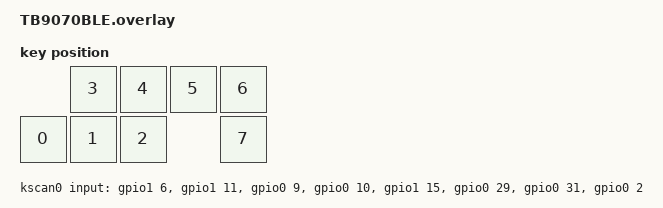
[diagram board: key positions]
#include <dt-bindings/zmk/input_transform.h>
#include <input/processors.dtsi>
#include <physical_layouts.dtsi>
#include <zephyr/dt-bindings/input/input-event-codes.h>

// layers
#define DEFAULT 0
#define SCRLM 1
#define SCRLH 2
#define DEVICE 3
#define BLTH 4
#define SNIPE 5

/ {
    chosen {
        zmk,kscan = &kscan0;
        zmk,physical-layout = &physical_layout0;
    };

    kscan0: kscan {
        compatible = "zmk,kscan-gpio-direct";
        wakeup-source;
        input-gpios
            = <&gpio1 6 (GPIO_ACTIVE_LOW | GPIO_PULL_UP)>
            , <&gpio1 11 (GPIO_ACTIVE_LOW | GPIO_PULL_UP)>
            , <&gpio0 9 (GPIO_ACTIVE_LOW | GPIO_PULL_UP)>
            , <&gpio0 10 (GPIO_ACTIVE_LOW | GPIO_PULL_UP)>
            , <&gpio1 15 (GPIO_ACTIVE_LOW | GPIO_PULL_UP)>
            , <&gpio0 29 (GPIO_ACTIVE_LOW | GPIO_PULL_UP)>
            , <&gpio0 31 (GPIO_ACTIVE_LOW | GPIO_PULL_UP)>
            , <&gpio0 2 (GPIO_ACTIVE_LOW | GPIO_PULL_UP)>
            ;
    };

    

    physical_layout0: physical_layout_0 {
        compatible = "zmk,physical-layout";
        display-name = "Default Layout";

        kscan = <&kscan0>;
        transform = <&default_transform>;

        keys  //                     w   h    x    y     rot    rx    ry
            = <&key_physical_attrs 100 100    0  100       0     0     0>
            , <&key_physical_attrs 100 100  100  100       0     0     0>
            , <&key_physical_attrs 100 100  200  100       0     0     0>
            , <&key_physical_attrs 100 100  100    0       0     0     0>
            , <&key_physical_attrs 100 100  200    0       0     0     0>
            , <&key_physical_attrs 100 100  300    0       0     0     0>
            , <&key_physical_attrs 100 100  400    0       0     0     0>
            , <&key_physical_attrs 100 100  400  100       0     0     0>
            ;
    };
    position_map {
        compatible = "zmk,physical-layout-position-map";

        complete;

        layout1: layout1 {
            physical-layout = <&physical_layout0>;
            positions
                = <   3  4  5  6>
                , < 0  1  2    7>
                ;
        };
    };
  
};




&gpio0 {
    fastbatcharge: fast-battery-charge {
        gpio-hog;
        gpios = <13 GPIO_ACTIVE_HIGH>;
        output-low;
        line-name = "Fast Battery Charge";
    };
};

&pinctrl {
    spi0_default: spi0_default {
        group1 {
            psels = <NRF_PSEL(SPIM_SCK, 0, 8)>,
                    <NRF_PSEL(SPIM_MOSI, 0, 17)>,
                    <NRF_PSEL(SPIM_MISO, 0, 20)>;
        };
    };

    spi0_sleep: spi0_sleep {
        group1 {
            psels = <NRF_PSEL(SPIM_SCK, 0, 8)>,
                    <NRF_PSEL(SPIM_MOSI, 0, 17)>,
                    <NRF_PSEL(SPIM_MISO, 0, 20)>;
            low-power-enable;
        };
    };
};

&uart0 {
    status = "disabled";
};



&spi0 {
    status = "okay";
    compatible = "nordic,nrf-spim";
    pinctrl-0 = <&spi0_default>;
    pinctrl-1 = <&spi0_sleep>;
    pinctrl-names = "default", "sleep";
    cs-gpios = <&gpio0 22 GPIO_ACTIVE_LOW>;
    trackball: trackball@0 {
        status = "okay";
        compatible = "pixart,pmw3360";
        reg = <0>;
        spi-max-frequency = <2000000>;
        irq-gpios = <&gpio0 6 (GPIO_ACTIVE_LOW | GPIO_PULL_UP)>;
        // duplex = <2048>; // required by 3-wire spi
        scroll-layers = <3>;
        snipe-layers = <4>;
    };
};

/ {
  trackball_listener: trackball_listner {
    compatible = "zmk,input-listener";
    device = <&trackball>;
    input-processors = <&zip_xy_swap_mapper>;

    default {
        layers = <DEFAULT>;
        process-next;
    };
    scroll {
        layers = <SCRLM SCRLH>;
        input-processors = <&zip_xy_transform (INPUT_TRANSFORM_X_INVERT)>, <&zip_xy_swap_mapper>, <&zip_xy_scaler 1 10>, <&zip_xy_to_scroll_mapper>;
        process-next;
    };
    snipe {
        layers = <SNIPE>;
        input-processors = <&zip_xy_scaler 1 5>;
        process-next;
    };
  };
}; 
